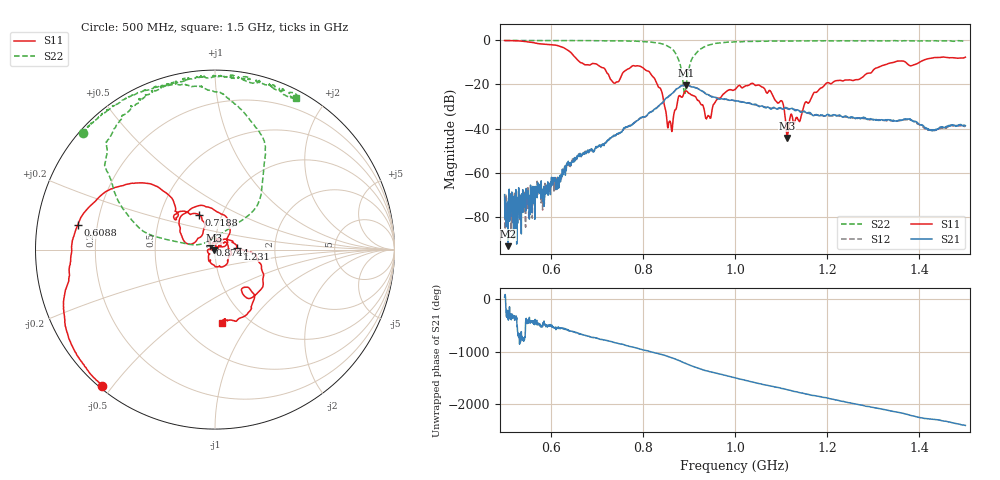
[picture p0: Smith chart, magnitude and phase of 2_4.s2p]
!Agilent Technologies,E8364B,US42250235,A.06.04.32
!Agilent E8364B: A.06.04.32
!Date: Friday, January 15, 2021 14:49:53
!Correction: S11(Full 2 Port(1,2)) S21(Full 2 Port(1,2)) S12(Full 2 Port(1,2)) S22(Full 2 Port(1,2))
!S2P File: Measurements: S11, S21, S12, S22:
# Hz S  dB  R 50
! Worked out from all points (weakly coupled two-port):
!   1601 points, 500 MHz to 1.5 GHz, reference 50 ohm
!   highest |S21| = -20.44 dB at 894.4 MHz (marker M1); lowest = -93.2 dB at 507.5 MHz (marker M2)
!   lowest |S11| = -44.2 dB at 1.113 GHz (marker M3), VSWR 1.01, Z = 49.5 - j0.379 ohm
!   |S11| at or under -10 dB: 663.7 MHz to 1.345 GHz (681.2 MHz wide, 67.8 % of centre); 1.371 GHz to 1.4 GHz (29.59 MHz wide, 2.14 % of centre)
!   |S22| runs from -24.7 to -0.1 dB; largest |S21 - S12| = 0.0031
!   S11 on the Smith chart (normalised r, x): 500 MHz: 0.01, -0.47; 608.8 MHz: 0.13, +0.09; 718.8 MHz: 0.78, +0.32; 874.4 MHz: 0.95, +0.05; 1.231 GHz: 1.28, +0.02; 1.5 GHz: 0.76, -0.75
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5e8  -0.14 -129.7  -69.88 47.9  -79.02 48.2  -0.14 138.5
5.075e8  -0.16 -133.1  -93.19 124.2  -73.12 -34.4  -0.13 137.6
6.0875e8  -2.19 169.8  -63.20 174.9  -63.74 -161.6  -0.16 127.3
6.66875e8  -10.21 136.1  -51.98 51.6  -51.57 49.6  -0.19 121.5
7.1875e8  -13.45 114.4  -46.52 -62.4  -46.36 -60.4  -0.25 115.6
7.40625e8  -19.30 141.8  -43.10 -110.2  -43.09 -110.4  -0.33 111.3
7.925e8  -11.66 110.6  -35.65 135.3  -35.53 133.8  -0.56 102.1
8.3375e8  -21.17 41.4  -29.82 41.2  -29.87 41.7  -1.28 86.7
8.5875e8  -36.58 70.4  -24.81 -25.7  -25.05 -25.4  -3.24 68.0
8.74375e8  -28.97 137.6  -21.87 -76.5  -22.03 -75.1  -7.36 52.5
8.8875e8  -24.25 120.9  -20.62 -132.1  -20.62 -130.6  -22.16 78.2
8.94375e8  -22.99 93.2  -20.44 -151.3  -20.49 -149.7  -19.90 164.6
9.0875e8  -25.03 69.0  -21.16 158.6  -21.13 160.2  -7.62 165.5
9.41875e8  -34.07 28.9  -24.61 64.2  -24.67 64.7  -2.25 142.7
1e9  -22.32 3.4  -27.48 -61.0  -27.30 -59.5  -0.72 120.4
1.076875e9  -23.02 -119.9  -31.10 141.3  -30.70 142.0  -0.40 108.1
1.1025e9  -27.72 -175.5  -31.15 92.1  -31.00 94.3  -0.38 105.7
1.113125e9  -44.21 -141.6  -30.71 68.8  -30.92 71.9  -0.38 104.0
1.166875e9  -25.50 79.7  -33.63 -36.9  -33.68 -34.4  -0.34 97.1
1.230625e9  -18.26 3.2  -34.43 -149.9  -34.50 -146.8  -0.26 90.6
1.33375e9  -10.50 -26.0  -35.96 31.4  -36.28 31.3  -0.29 79.1
1.5e9  -7.70 -84.4  -38.69 105.5  -38.87 103.2  -0.36 61.9
